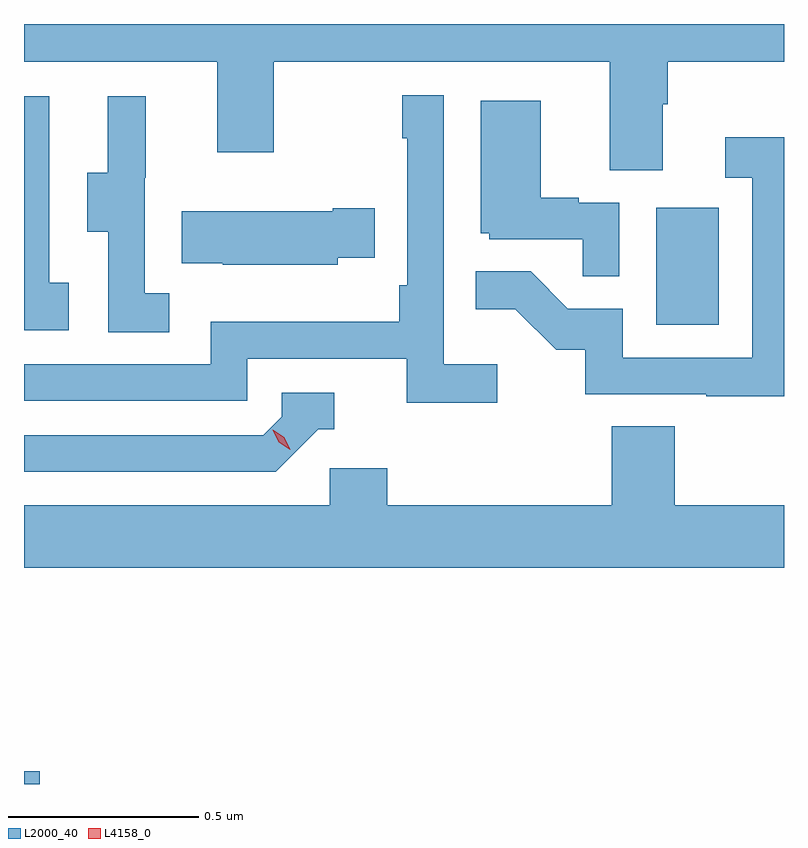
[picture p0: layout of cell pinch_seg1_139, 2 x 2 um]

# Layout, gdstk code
import gdstk
lib = gdstk.Library(unit=1e-6, precision=1e-09)
def R(c, l, rs):  # rectangles x0, y0, x1, y1
    for r in rs: c.add(gdstk.rectangle(r[:2], r[2:], *l))
def P(c, l, *ps):  # polygons
    for p in ps: c.add(gdstk.Polygon(p, *l))
L2000_40 = (2000, 40)
L4158_0 = (4158, 0)

pinch_seg1_139 = lib.new_cell('pinch_seg1_139')
R(pinch_seg1_139, L2000_40, [(1017.288,543.171,1017.329,543.204), (1018.952,544.38,1019.116,544.687)])
P(pinch_seg1_139, L2000_40, [(1018.969,544.96),(1018.982,544.96),(1018.982,545.072),(1019.288,545.072),(1019.288,545.171),(1017.288,545.171),(1017.288,545.072),(1017.797,545.072),(1017.797,544.833),(1017.945,544.833),(1017.945,545.072),(1018.829,545.072),(1018.829,544.786),(1018.969,544.786)],
  [(1018.534,544.276),(1018.392,544.276),(1018.392,544.984),(1018.284,544.984),(1018.284,544.871),(1018.296,544.871),(1018.296,544.483),(1018.276,544.483),(1018.276,544.387),(1017.78,544.387),(1017.78,544.275),(1017.288,544.275),(1017.288,544.179),(1017.876,544.179),(1017.876,544.29),(1018.295,544.29),(1018.295,544.174),(1018.534,544.174)],
  [(1017.67,544.463),(1017.606,544.463),(1017.606,544.767),(1017.608,544.767),(1017.608,544.981),(1017.509,544.981),(1017.509,544.779),(1017.455,544.779),(1017.455,544.624),(1017.51,544.624),(1017.51,544.36),(1017.67,544.36)],
  [(1017.406,544.49),(1017.354,544.49),(1017.354,544.981),(1017.288,544.981),(1017.288,544.365),(1017.406,544.365)],
  [(1018.854,544.701),(1018.748,544.701),(1018.748,544.714),(1018.648,544.714),(1018.648,544.969),(1018.49,544.969),(1018.49,544.62),(1018.512,544.62),(1018.512,544.605),(1018.759,544.605),(1018.759,544.507),(1018.854,544.507)],
  [(1019.288,544.873),(1019.133,544.873),(1019.133,544.767),(1019.205,544.767),(1019.205,544.293),(1018.863,544.293),(1018.863,544.422),(1018.719,544.422),(1018.621,544.52),(1018.477,544.52),(1018.477,544.421),(1018.581,544.421),(1018.688,544.314),(1018.765,544.314),(1018.765,544.197),(1019.083,544.197),(1019.083,544.192),(1019.288,544.192)],
  [(1018.113,544.556),(1018.211,544.556),(1018.211,544.686),(1018.1,544.686),(1018.1,544.678),(1017.703,544.678),(1017.703,544.541),(1017.811,544.541),(1017.811,544.538),(1018.113,544.538)],
  [(1018.062,544.104),(1018.105,544.104),(1018.105,544.2),(1017.966,544.2),(1017.966,544.137),(1017.918,544.089),(1017.288,544.089),(1017.288,543.993),(1017.951,543.993)],
  [(1019.288,543.904),(1019,543.904),(1019,544.112),(1018.835,544.112),(1018.835,543.904),(1018.244,543.904),(1018.244,544.002),(1018.092,544.002),(1018.092,543.904),(1017.288,543.904),(1017.288,543.74),(1019.288,543.74)])
P(pinch_seg1_139, L4158_0, [(1017.989,544.051),(1017.958,544.07),(1017.942,544.103),(1017.942,544.103),(1017.942,544.103),(1017.973,544.084),(1017.989,544.051),(1017.989,544.051)])

lib.write_gds('pinch_seg1_139.gds')
